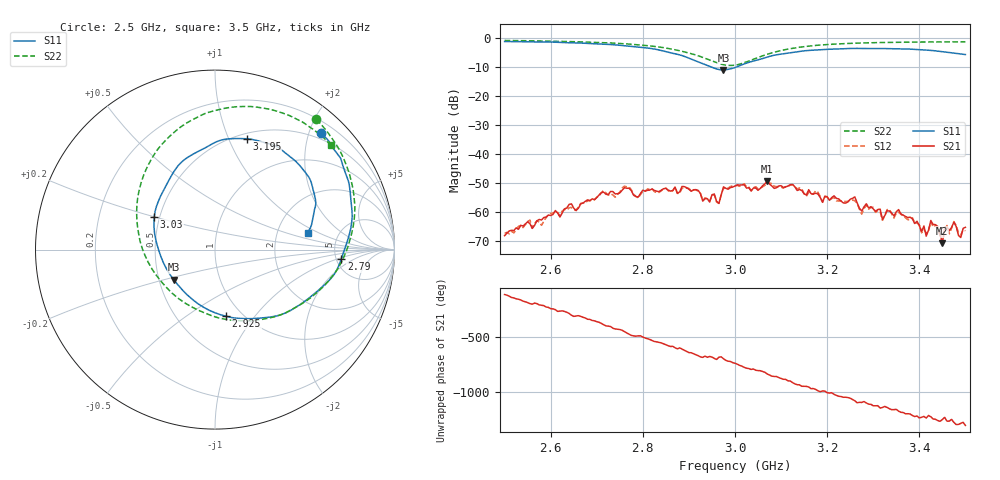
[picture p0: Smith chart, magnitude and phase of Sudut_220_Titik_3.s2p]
# Hz S RI R 50
! CMT, C1220, 16058040, 17.2.0/1
! Date: 15/08/2018 10:43:23
! Data: Format (Calibration Info)
! Freq  S11: Re/Im (F2)  S21: Re/Im (F2)  S12: Re/Im (F2)  S22: Re/Im (F2)
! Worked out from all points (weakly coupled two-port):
!   201 points, 2.5 GHz to 3.5 GHz, reference 50 ohm
!   highest |S21| = -49.46 dB at 3.07 GHz (marker M1); lowest = -70.9 dB at 3.45 GHz (marker M2)
!   lowest |S11| = -10.9 dB at 2.975 GHz (marker M3), VSWR 1.80, Z = 29.8 - j10.9 ohm
!   |S11| at or under -10 dB: 2.95 GHz to 3.002 GHz (51.98 MHz wide, 1.75 % of centre)
!   |S22| runs from -9.4 to -0.7 dB; largest |S21 - S12| = 0.00033
!   S11 on the Smith chart (normalised r, x): 2.5 GHz: 0.38, +2.20; 2.79 GHz: 5.53, -1.18; 2.925 GHz: 0.84, -0.73; 3.03 GHz: 0.47, +0.20; 3.195 GHz: 0.55, +1.17; 3.5 GHz: 2.98, +0.76
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2.5e9  0.5918 0.6519  -0.000113 -0.000369  -0.000133 -0.000402  0.564 0.7251
2.67e9  0.7502 0.345  0.001 0.001  0.00108 0.000931  0.7379 0.4538
2.76e9  0.7423 0.063  0.000174 -0.0026  0.000194 -0.00276  0.7784 0.2111
2.79e9  0.7033 -0.0537  -0.00104 -0.00147  -0.00101 -0.0014  0.7653 0.1062
2.835e9  0.5918 -0.2129  -0.00222 0.000204  -0.00216 0.0001  0.7049 -0.0688
2.925e9  0.0623 -0.3718  0.00154 0.00138  0.00152 0.00141  0.2957 -0.3823
2.965e9  -0.1821 -0.2244  0.00109 0.00087  0.00112 0.000835  -0.0208 -0.3675
2.975e9  -0.2297 -0.1682  0.00244 0.00116  0.00231 0.00111  -0.0976 -0.3356
3e9  -0.312 -0.00845  0.00268 -0.000792  0.00266 -0.000884  -0.2715 -0.2099
3.03e9  -0.3384 0.1824  0.00109 -0.00237  0.00108 -0.00244  -0.4054 0.00673
3.07e9  -0.2471 0.4042  -0.00139 -0.00306  -0.00119 -0.00303  -0.426 0.3149
3.17e9  0.092 0.6179  -0.000754 0.00188  -0.000839 0.00185  -0.0908 0.7416
3.195e9  0.177 0.6175  4.81e-05 0.00186  0.000133 0.0018  0.00121 0.775
3.26e9  0.3504 0.5706  0.00181 2.81e-06  0.00155 -5.02e-05  0.2102 0.7964
3.32e9  0.4665 0.4748  0.000349 -0.000647  0.000359 -0.000615  0.3607 0.7659
3.335e9  0.4886 0.4482  0.000302 -0.000986  0.00028 -0.00107  0.3928 0.7549
3.415e9  0.5595 0.281  -0.000351 -0.000142  -0.0004 -0.000158  0.5347 0.6787
3.425e9  0.5615 0.2591  -0.000593 -0.000385  -0.000554 -0.000386  0.5493 0.6686
3.45e9  0.5512 0.2047  -0.000281 -3.98e-05  -0.000253 -2.59e-05  0.5855 0.64
3.46e9  0.5462 0.1782  -0.000547 6.37e-05  -0.000569 0.0001  0.5981 0.6299
3.49e9  0.5255 0.1108  -0.000319 0.000165  -0.000338 0.000211  0.6336 0.5945
3.5e9  0.5158 0.0928  -0.000373 0.00039  -0.0003 0.00036  0.645 0.5834
